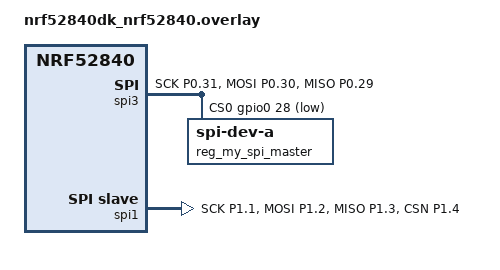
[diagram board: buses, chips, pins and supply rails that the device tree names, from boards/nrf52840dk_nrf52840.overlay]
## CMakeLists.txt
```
# SPDX-License-Identifier: Apache-2.0

cmake_minimum_required(VERSION 3.13.1)
find_package(Zephyr REQUIRED HINTS $ENV{ZEPHYR_BASE})
project(spi-demo)

target_sources(app PRIVATE src/main.c)
target_include_directories(app PRIVATE ${CMAKE_BINARY_DIR})

include_directories(${CMAKE_BINARY_DIR})
```

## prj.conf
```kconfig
CONFIG_GPIO=y

CONFIG_SPI=y
CONFIG_SPI_SLAVE=y
CONFIG_SPI_ASYNC=y

# Enable minimal shell
CONFIG_SHELL=y
CONFIG_SHELL_BACKEND_SERIAL=y
CONFIG_SHELL_HELP=y
CONFIG_SHELL_MINIMAL=y 
CONFIG_SHELL_PROMPT_UART="shell:~$ "
CONFIG_SHELL_TAB=y
CONFIG_SHELL_HISTORY=y

# Enable logging
# CONFIG_LOG=y
# CONFIG_LOG_BACKEND_UART=n
# CONFIG_LOG_BACKEND_RTT=n

# Disable boot banner
CONFIG_BOOT_BANNER=n
```

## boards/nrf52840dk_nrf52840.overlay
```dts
&pinctrl {
	spi_master_default: spi_master_default {
		group1 {
			psels = <NRF_PSEL(SPIM_SCK, 0, 31)>,
					<NRF_PSEL(SPIM_MOSI, 0, 30)>,
					<NRF_PSEL(SPIM_MISO, 0, 29)>;
		};
	};

	spi_master_sleep: spi_master_sleep {
		group1 {
			psels = <NRF_PSEL(SPIM_SCK, 0, 31)>,
					<NRF_PSEL(SPIM_MOSI, 0, 30)>,
					<NRF_PSEL(SPIM_MISO, 0, 29)>;
			low-power-enable;
		};
	};

	spi_slave_default: spi_slave_default {
		group1 {
			psels = <NRF_PSEL(SPIS_SCK, 1, 1)>,
					<NRF_PSEL(SPIS_MOSI, 1, 2)>,
					<NRF_PSEL(SPIS_MISO, 1, 3)>,
					<NRF_PSEL(SPIS_CSN, 1, 4)>;
		};
	};

	spi_slave_sleep: spi_slave_sleep {
		group1 {
			psels = <NRF_PSEL(SPIS_SCK, 1, 1)>,
					<NRF_PSEL(SPIS_MOSI, 1, 2)>,
					<NRF_PSEL(SPIS_MISO, 1, 3)>,
					<NRF_PSEL(SPIS_CSN, 1, 4)>;
			low-power-enable;
		};
	};
};

my_spi_master: &spi3 {
	compatible = "nordic,nrf-spim";
	status = "okay";
	pinctrl-0 = <&spi_master_default>;
	pinctrl-1 = <&spi_master_sleep>;
	pinctrl-names = "default", "sleep";
	cs-gpios = 	<&gpio0 28 GPIO_ACTIVE_LOW>;
	reg_my_spi_master: spi-dev-a@0 {
		reg = <0>;
	};
};

my_spi_slave: &spi1 {
	compatible = "nordic,nrf-spis";
	status = "okay";
	pinctrl-0 = <&spi_slave_default>;
	pinctrl-1 = <&spi_slave_sleep>;
	pinctrl-names = "default", "sleep";
	def-char = <0x00>;
};

// By default uart1 will occupy P1.01 and P1.02. In order to make these pins available, disable uart1
&uart1 {
	status="disabled";
};
```

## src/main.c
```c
/*
 * Copyright (c) 2016 Intel Corporation
 *
 * SPDX-License-Identifier: Apache-2.0
 */

#include <zephyr/kernel.h>
#include <zephyr/device.h>
#include <zephyr/devicetree.h>
#include <zephyr/drivers/gpio.h>
#include <zephyr/drivers/spi.h>
#include <zephyr/shell/shell.h>
#include <zephyr/sys/util.h>
#include <stdlib.h>
#include <string.h>
#include <ctype.h>

// SPI parameters
#define SPI_FREQ 200000
#define STORE_SIZE 2048

// Thread stack size and priority
#define STACK_SIZE 2048
#define THREAD_PRIORITY 5

// Devicetree node identifiers
#define LED0_NODE DT_ALIAS(led0)
#define SPI_MASTER DT_NODELABEL(my_spi_master)
#define SPI_MASTER_CS_DT_SPEC SPI_CS_GPIOS_DT_SPEC_GET(DT_NODELABEL(reg_my_spi_master)) // Node identifier for Chip Select
#define SPI_SLAVE DT_NODELABEL(my_spi_slave)

// SPI slave thread
K_THREAD_STACK_DEFINE(spi_slave_stack, STACK_SIZE);	
struct k_thread spi_slave_thread;

const struct device *spi_slave_dev;
bool spi_slave_ready = false;

static uint8_t store[STORE_SIZE];

// SPI device configuration
const struct device *spi_dev;

static struct spi_config spi_cfg = {
	.operation = SPI_WORD_SET(8) | SPI_TRANSFER_MSB | SPI_MODE_CPOL | SPI_MODE_CPHA | SPI_OP_MODE_MASTER,
	.frequency = SPI_FREQ,
	.cs = {.gpio = SPI_MASTER_CS_DT_SPEC, .delay = 0},
};
static const struct spi_config spi_slave_cfg = {
	.operation = SPI_WORD_SET(8) | SPI_TRANSFER_MSB | SPI_MODE_CPOL | SPI_MODE_CPHA | SPI_OP_MODE_SLAVE,
	.frequency = SPI_FREQ,
};

// SPI device initialization functions
static void spi_init(void)
{
	spi_dev = DEVICE_DT_GET(SPI_MASTER);
	if (!device_is_ready(spi_dev))
	{
		printk("SPI master device not ready!\n");
	}
	struct gpio_dt_spec spim_cs_gpio = SPI_MASTER_CS_DT_SPEC;
	if (!device_is_ready(spim_cs_gpio.port))
	{
		printk("SPI master chip select device not ready!\n");
	}
}

static void spi_slave_init(void)
{
	spi_slave_dev = DEVICE_DT_GET(SPI_SLAVE);
	if (!device_is_ready(spi_slave_dev))
	{
		printk("SPI slave device not ready!\n");
	}
}

// Read from SPI slave
static int spi_read()
{
    uint8_t rx_buffer[1024] = {0};

    const struct spi_buf rx_buf = {
        .buf = rx_buffer,
        .len = sizeof(rx_buffer),
    };
    const struct spi_buf_set rx = {
        .buffers = &rx_buf,
        .count = 1,
    };

	int ret;
    ret = spi_read(spi_dev, &spi_cfg, &rx);
    if(ret != 0){
        printk("SPI transceive error: %i\n", ret);
        return ret;
    }

	int count = 0;
    do {
        printk("%c", rx_buffer[count]);
        count++;
    } while (rx_buffer[count] != 0x00);  // While EOT != NULL, keep reading
	printk("\n");
	return 0;
}

// Write to SPI slave
static int spi_write(uint8_t *bytes, int length)
{	
	// Block access byte
	uint8_t tx_buffer[1024] = {0};
    memcpy(tx_buffer, bytes, length);

    const struct spi_buf tx_buf = {
        .buf = tx_buffer,
        .len = sizeof(tx_buffer),
    };
    const struct spi_buf_set tx = {
        .buffers = &tx_buf,
        .count = 1,
    };

    int ret = spi_write(spi_dev, &spi_cfg, &tx);
    if(ret != 0){
        printk("SPI transceive error: %i\n", ret);
        return ret;
    }
	return 0;
}

/* SPI slave thread */
static void spi_slave_thread_entry(void *p1, void *p2, void *p3)
{
    spi_slave_init();

    uint8_t rx_buffer[1024] = {0};
    uint8_t tx_buffer[1024];
    memcpy(tx_buffer, store, STORE_SIZE);

    const struct spi_buf tx_buf = {
        .buf = tx_buffer,
        .len = sizeof(tx_buffer),
    };
    struct spi_buf rx_buf = {
        .buf = rx_buffer,
        .len = sizeof(rx_buffer),
    };
    const struct spi_buf_set tx = {
        .buffers = &tx_buf,
        .count = 1,
    };
    const struct spi_buf_set rx = {
        .buffers = &rx_buf,
        .count = 1,
    };

    while (1) {
        int ret = spi_transceive(spi_slave_dev, &spi_slave_cfg, &tx, &rx);
        if(ret < 0){
            printk("SPI transceive error: %i\n", ret);
        }
        memcpy(store, rx_buffer, STORE_SIZE);
        k_msleep(100);
    }
}

void start_spi_slave_thread(void)
{
    k_thread_create(&spi_slave_thread, spi_slave_stack,
                    K_THREAD_STACK_SIZEOF(spi_slave_stack),
                    spi_slave_thread_entry, NULL, NULL, NULL,
                    THREAD_PRIORITY, 0, K_NO_WAIT);
    k_thread_name_set(&spi_slave_thread, "spi_slave");
}

// Shell command functions
static int cmd_spi_read(const struct shell *shell, size_t argc, char **argv)
{
	if (argc < 1) {
		shell_print(shell, "Usage: spi read");
		return -EINVAL;
    }
	spi_read();
	return 0;
}

static int cmd_spi_write(const struct shell *shell, size_t argc, char **argv)
{
	if (argc < 2) {
		shell_print(shell, "Usage: spi write <values>");
        return -EINVAL;
    }

    // Parse address
    if (!isxdigit(argv[1][0]) || !isxdigit(argv[1][1])) {
        shell_error(shell, "Invalid address format");
        return -EINVAL;
    }

    // Calculate total length of arguments
    size_t arg_len = 0;
    for (int x = 1; x < argc; x++)
    {
        arg_len += strlen(argv[x]);
    }

    int total_len = arg_len + (argc - 2) + 1; // Account for space between arguments and null terminator
    uint8_t *tx_buffer = (uint8_t *)malloc(total_len * sizeof(uint8_t));
    if (!tx_buffer) {
        shell_error(shell, "Memory allocation error");
        return -ENOMEM;
    }

    // Concatenates each string argument into tx_buffer
    tx_buffer[0] = '\0';
    for (int i = 1; i < argc; i++)
    {
        for (char *p = argv[i]; *p != '\0'; p++) {
            if ((*p == '/' || *p == '\\') && *(p + 1) == 'n') { // Check for newline characters
                strcat((char *)tx_buffer, "\n");
                p++;
                total_len--;
            } else {
                strncat((char *)tx_buffer, p, 1);
            }
        }
        if (i < argc - 1) {
            strcat((char *)tx_buffer, " ");	// Add space between arguments
        }
    }
    spi_master_write_text_block(target_addr, (uint8_t *)tx_buffer, total_len);
    return 0;
}

static int cmd_spi_list(const struct shell *shell, size_t argc, char **argv)
{
	shell_print(shell, "SPI master device: %s", spi_dev->name);
	shell_print(shell, "SPI slave device: %s", spi_slave_dev->name);
	return 0;
}

SHELL_STATIC_SUBCMD_SET_CREATE(	sub_spi,
							   	SHELL_CMD(read, &sub_spi_rd, "SPI master read", cmd_spi_read),
							   	SHELL_CMD(write, &sub_spi_wr, "SPI master write", cmd_spi_write),
								SHELL_CMD(list, NULL, "List SPI devices", cmd_spi_list),
							   	SHELL_SUBCMD_SET_END);
SHELL_CMD_REGISTER(spi, &sub_spi, "SPI read/write commands", NULL);

/*
 * A build error on this line means your board is unsupported.
 * See the sample documentation for information on how to fix this.
 */
static const struct gpio_dt_spec led = GPIO_DT_SPEC_GET(LED0_NODE, gpios);

int main(void)
{
	int ret;

	if (!device_is_ready(led.port))
	{
		return 0;
	}

	ret = gpio_pin_configure_dt(&led, GPIO_OUTPUT_ACTIVE);
	if (ret < 0)
	{
		return 0;
	}

	spi_init();
	start_spi_slave_thread();

    // Clear shell
	printk("\033[2J");
    printk("\033[H");

	return 0;
}
```
